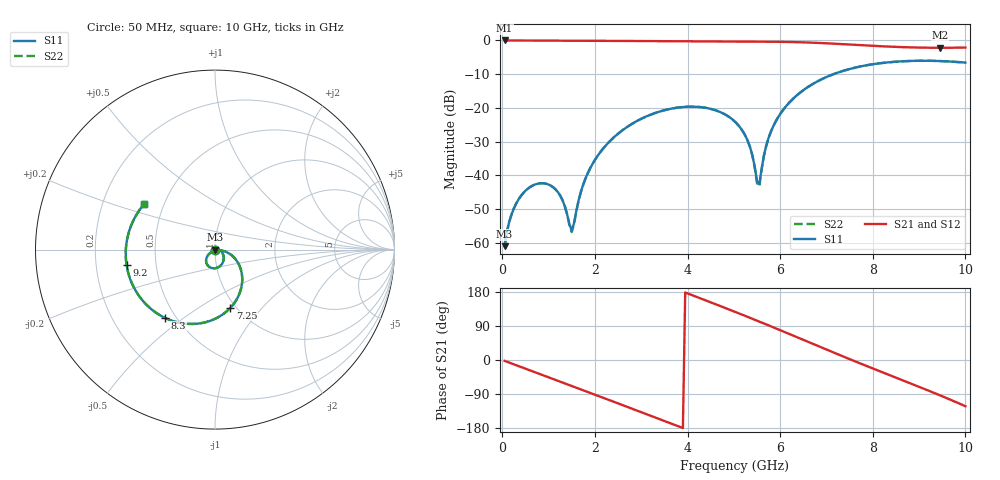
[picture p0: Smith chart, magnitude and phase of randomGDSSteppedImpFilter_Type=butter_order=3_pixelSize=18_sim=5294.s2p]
! freq	dB(S11)	phase(S11)	dB(S12)	phase(S12)
!  dB(S21)	phase(S21)	dB(S22)	phase(S22)
!S-par simulation data
#  GHz  S  DB  R 50
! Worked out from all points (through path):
!   200 points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, 50 MHz to 10 GHz, reference 50 ohm
!   highest |S21| = 0.00 dB at 50 MHz (marker M1); lowest = -2.2 dB at 9.45 GHz (marker M2)
!   group delay of S21, straight-line fit = 134 ps
!   lowest |S11| = -60.9 dB at 50 MHz (marker M3), VSWR 1.00, Z = 50 - j0.0847 ohm
!   |S11| at or under -10 dB: start of sweep to 7.149 GHz
!   |S22| runs from -60.9 to -6.0 dB; largest |S21 - S12| = 0
!   S11 on the Smith chart (normalised r, x): 50 MHz: 1.00, -0.00; 7.25 GHz: 0.94, -0.69; 8.3 GHz: 0.44, -0.43; 9.2 GHz: 0.34, -0.08; 10 GHz: 0.39, +0.25
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0.05  -60.94 -70.7  -0.00 -2.3  -0.00 -2.3  -60.94 -70.8
0.25  -49.76 -96.2  -0.02 -11.5  -0.02 -11.5  -49.76 -96.2
0.55  -43.93 -116.0  -0.04 -25.1  -0.04 -25.1  -43.93 -115.9
1.15  -44.11 -151.4  -0.06 -52.5  -0.06 -52.5  -44.12 -150.9
1.35  -49.08 -172.5  -0.07 -61.7  -0.07 -61.7  -49.14 -171.4
1.5  -56.30 114.0  -0.08 -68.5  -0.08 -68.5  -56.77 114.0
1.75  -42.57 23.8  -0.09 -80.0  -0.09 -80.0  -42.61 22.9
2.35  -29.46 -13.7  -0.13 -107.6  -0.13 -107.6  -29.47 -14.0
3.4  -21.05 -64.0  -0.23 -156.2  -0.23 -156.2  -21.06 -64.2
4.2  -19.65 -100.8  -0.30 166.4  -0.30 166.4  -19.66 -101.1
5.05  -24.42 -137.8  -0.34 125.9  -0.34 125.9  -24.43 -138.4
5.35  -31.59 -143.7  -0.34 111.3  -0.34 111.3  -31.64 -145.1
5.55  -42.59 -55.7  -0.35 101.4  -0.35 101.4  -43.28 -53.7
5.7  -31.15 -9.8  -0.37 93.9  -0.37 93.9  -31.19 -8.6
5.9  -24.09 -11.9  -0.39 83.9  -0.39 83.9  -24.10 -11.3
6.7  -12.93 -47.8  -0.66 42.9  -0.66 42.9  -12.93 -47.7
7.25  -9.50 -75.1  -1.02 14.9  -1.02 14.9  -9.50 -75.0
8.3  -6.53 -126.2  -1.80 -36.9  -1.80 -36.9  -6.53 -126.2
8.35  -6.46 -128.6  -1.83 -39.3  -1.83 -39.3  -6.46 -128.6
9.2  -6.02 -170.1  -2.16 -80.6  -2.16 -80.6  -6.02 -170.1
9.45  -6.10 177.1  -2.17 -93.1  -2.17 -93.1  -6.10 177.1
10  -6.56 147.5  -2.10 -122.0  -2.10 -122.0  -6.56 147.5
